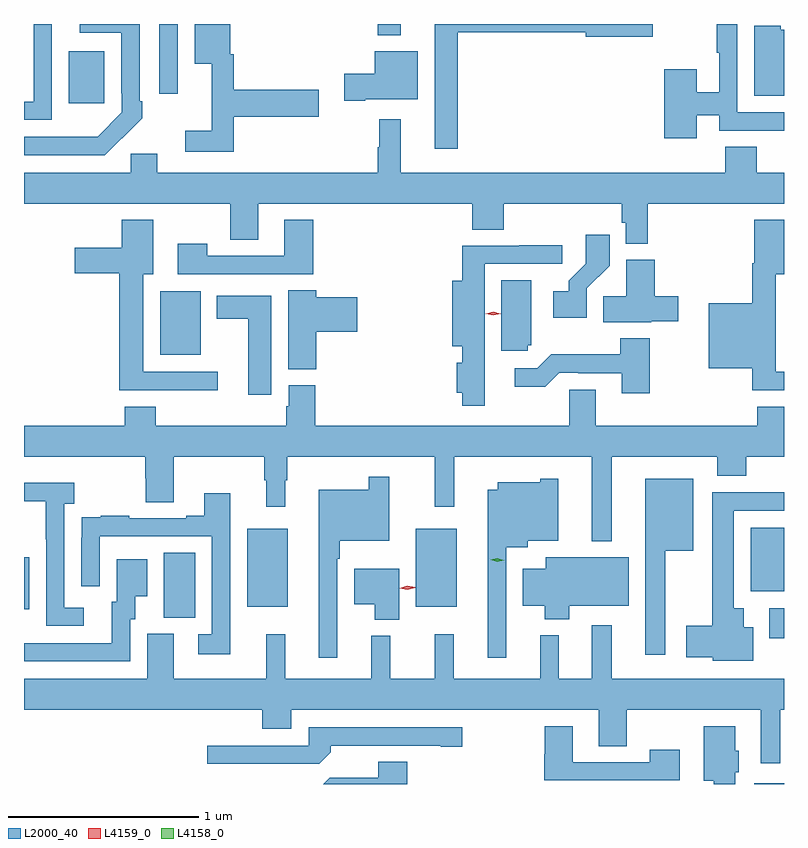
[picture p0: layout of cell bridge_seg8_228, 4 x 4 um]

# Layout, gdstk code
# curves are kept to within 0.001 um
import gdstk
lib = gdstk.Library(unit=1e-6, precision=1e-09)
def R(c, l, rs):  # rectangles x0, y0, x1, y1
    for r in rs: c.add(gdstk.rectangle(r[:2], r[2:], *l))
def P(c, l, *ps):  # polygons
    for p in ps: c.add(gdstk.Polygon(p, *l))
L2000_40 = (2000, 40)
L4158_0 = (4158, 0)
L4159_0 = (4159, 0)

bridge_seg8_228 = lib.new_cell('bridge_seg8_228')
R(bridge_seg8_228, L2000_40, [(125.18,1082.81,125.336,1082.815), (125.258,1083.576,125.336,1083.735), (122.072,1083.685,122.236,1084.028), (121.336,1083.729,121.363,1084.003), (122.51,1083.743,122.725,1084.153), (123.398,1083.743,123.613,1084.153), (125.162,1083.824,125.336,1084.159), (122.054,1085.069,122.266,1085.404), (121.571,1086.393,121.759,1086.667), (122.049,1086.444,122.145,1086.81), (123.198,1086.752,123.319,1086.81)])
P(bridge_seg8_228, L2000_40, [(121.853,1086.211),(121.854,1086.21),(121.959,1086.315),(121.959,1086.403),(121.944,1086.403),(121.944,1086.81),(121.629,1086.81),(121.629,1086.765),(121.848,1086.765),(121.848,1086.445),(121.851,1086.445),(121.851,1086.345),(121.723,1086.217),(121.336,1086.216),(121.336,1086.12),(121.762,1086.12)],
  [(121.482,1086.763),(121.483,1086.763),(121.483,1086.81),(121.386,1086.81),(121.386,1086.402),(121.336,1086.402),(121.336,1086.306),(121.482,1086.306)],
  [(122.441,1086.322),(122.887,1086.322),(122.887,1086.464),(122.441,1086.464),(122.441,1086.651),(122.422,1086.651),(122.422,1086.81),(122.234,1086.81),(122.234,1086.602),(122.324,1086.602),(122.324,1086.247),(122.184,1086.247),(122.184,1086.138),(122.441,1086.138)],
  [(124.876,1086.33),(124.995,1086.33),(124.995,1086.249),(125.275,1086.249),(125.275,1086.247),(125.336,1086.247),(125.336,1086.345),(125.091,1086.345),(125.091,1086.81),(124.983,1086.81),(124.983,1086.658),(124.995,1086.658),(124.995,1086.451),(124.876,1086.451),(124.876,1086.571),(124.706,1086.571),(124.706,1086.21),(124.876,1086.21)],
  [(123.619,1086.766),(124.292,1086.766),(124.292,1086.743),(124.645,1086.743),(124.645,1086.81),(123.497,1086.81),(123.497,1086.153),(123.619,1086.153)],
  [(125.336,1086.78),(125.319,1086.78),(125.319,1086.801),(125.18,1086.801),(125.18,1086.432),(125.336,1086.432)],
  [(123.133,1086.413),(123.409,1086.413),(123.409,1086.667),(123.182,1086.667),(123.182,1086.548),(123.021,1086.548),(123.021,1086.406),(123.133,1086.406)],
  [(124.619,1085.864),(125.336,1085.864),(125.336,1086.028),(125.192,1086.028),(125.192,1086.164),(125.027,1086.164),(125.027,1086.028),(123.319,1086.028),(123.319,1086.31),(123.205,1086.31),(123.205,1086.161),(123.198,1086.161),(123.198,1086.028),(122.038,1086.028),(122.038,1086.126),(121.899,1086.126),(121.899,1086.028),(121.336,1086.028),(121.336,1085.864),(122.422,1085.864),(122.422,1085.674),(122.569,1085.674),(122.569,1085.864),(123.695,1085.864),(123.695,1085.728),(123.86,1085.728),(123.86,1085.864),(124.483,1085.864),(124.483,1085.763),(124.503,1085.763),(124.503,1085.654),(124.619,1085.654)],
  [(125.336,1084.98),(125.293,1084.98),(125.293,1085.492),(125.336,1085.492),(125.336,1085.779),(125.18,1085.779),(125.18,1085.552),(125.168,1085.552),(125.168,1085.341),(124.94,1085.341),(124.94,1084.997),(125.168,1084.997),(125.168,1084.883),(125.336,1084.883)],
  [(122.858,1085.779),(122.705,1085.779),(122.705,1085.589),(122.301,1085.589),(122.301,1085.653),(122.145,1085.653),(122.145,1085.493),(122.858,1085.493)],
  [(122.356,1084.98),(121.963,1084.98),(121.963,1085.492),(122.017,1085.492),(122.017,1085.779),(121.85,1085.779),(121.85,1085.632),(121.602,1085.632),(121.602,1085.498),(121.838,1085.498),(121.838,1084.883),(122.356,1084.883)],
  [(124.299,1085.419),(124.418,1085.538),(124.418,1085.701),(124.293,1085.701),(124.293,1085.549),(124.202,1085.459),(124.202,1085.404),(124.122,1085.404),(124.122,1085.264),(124.299,1085.264)],
  [(123.76,1085.547),(124.168,1085.547),(124.168,1085.646),(123.943,1085.646),(123.943,1085.643),(123.643,1085.643),(123.643,1085.458),(123.59,1085.458),(123.59,1085.114),(123.643,1085.114),(123.643,1085.026),(123.614,1085.026),(123.614,1084.868),(123.643,1084.868),(123.643,1084.8),(123.76,1084.8)],
  [(124.638,1085.246),(124.78,1085.246),(124.78,1085.376),(124.655,1085.376),(124.655,1085.569),(124.505,1085.569),(124.505,1085.378),(124.384,1085.378),(124.384,1085.24),(124.638,1085.24)],
  [(123.987,1085.118),(124.006,1085.118),(124.006,1085.462),(123.848,1085.462),(123.848,1085.091),(123.987,1085.091)],
  [(122.873,1085.189),(123.091,1085.189),(123.091,1085.372),(122.873,1085.372),(122.873,1085.408),(122.726,1085.408),(122.726,1084.993),(122.873,1084.993)],
  [(122.638,1085.38),(122.351,1085.38),(122.351,1085.258),(122.516,1085.258),(122.516,1084.86),(122.638,1084.86)],
  [(124.629,1085.155),(124.474,1085.155),(124.474,1085.071),(124.111,1085.071),(124.038,1084.998),(123.918,1084.998),(123.918,1084.901),(124.079,1084.901),(124.152,1084.974),(124.252,1084.974),(124.252,1084.971),(124.481,1084.971),(124.481,1084.866),(124.629,1084.866)],
  [(121.865,1084.795),(121.865,1084.696),(121.336,1084.696),(121.336,1084.532),(121.973,1084.532),(121.973,1084.419),(121.978,1084.419),(121.978,1084.294),(122.125,1084.294),(122.125,1084.532),(122.601,1084.532),(122.601,1084.409),(122.612,1084.409),(122.612,1084.269),(122.71,1084.269),(122.71,1084.409),(122.722,1084.409),(122.722,1084.532),(123.499,1084.532),(123.499,1084.269),(123.6,1084.269),(123.6,1084.532),(124.325,1084.532),(124.325,1084.088),(124.429,1084.088),(124.429,1084.532),(124.985,1084.532),(124.985,1084.433),(125.138,1084.433),(125.138,1084.532),(125.336,1084.532),(125.336,1084.795),(125.195,1084.795),(125.195,1084.696),(124.345,1084.696),(124.345,1084.886),(124.206,1084.886),(124.206,1084.696),(122.87,1084.696),(122.87,1084.908),(122.729,1084.908),(122.729,1084.797),(122.717,1084.797),(122.717,1084.696),(122.03,1084.696),(122.03,1084.795)],
  [(122.985,1083.995),(122.998,1083.995),(122.998,1084.091),(123.258,1084.091),(123.258,1084.426),(123.15,1084.426),(123.15,1084.36),(122.888,1084.36),(122.888,1083.474),(122.985,1083.474)],
  [(124.711,1084.037),(124.858,1084.037),(124.858,1084.417),(124.607,1084.417),(124.607,1083.489),(124.711,1083.489)],
  [(123.873,1084.055),(123.988,1084.055),(123.988,1084.091),(124.147,1084.091),(124.147,1084.417),(124.053,1084.417),(124.053,1084.399),(123.83,1084.399),(123.83,1084.36),(123.776,1084.36),(123.776,1083.474),(123.873,1083.474)],
  [(121.651,1083.738),(121.548,1083.738),(121.548,1084.286),(121.6,1084.286),(121.6,1084.396),(121.336,1084.396),(121.336,1084.299),(121.451,1084.299),(121.451,1084.099),(121.452,1084.099),(121.452,1083.642),(121.651,1083.642)],
  [(125.173,1083.634),(125.125,1083.634),(125.125,1083.736),(125.071,1083.736),(125.071,1084.248),(125.336,1084.248),(125.336,1084.346),(124.958,1084.346),(124.958,1083.642),(124.821,1083.642),(124.821,1083.476),(124.962,1083.476),(124.962,1083.458),(125.173,1083.458)],
  [(122.421,1084.339),(122.285,1084.339),(122.285,1084.222),(122.189,1084.222),(122.189,1084.209),(121.889,1084.209),(121.889,1084.222),(121.741,1084.222),(121.741,1084.215),(121.639,1084.215),(121.639,1084.106),(121.638,1084.106),(121.638,1083.852),(121.734,1083.852),(121.734,1084.113),(122.325,1084.113),(122.325,1083.597),(122.253,1083.597),(122.253,1083.492),(122.421,1083.492)],
  [(124.206,1083.749),(124.519,1083.749),(124.519,1084.003),(124.082,1084.003),(124.082,1083.943),(123.962,1083.943),(123.962,1083.749),(124.076,1083.749),(124.076,1083.677),(124.206,1083.677)],
  [(121.896,1083.678),(121.921,1083.678),(121.921,1083.797),(121.984,1083.797),(121.984,1083.994),(121.823,1083.994),(121.823,1083.768),(121.799,1083.768),(121.799,1083.552),(121.336,1083.552),(121.336,1083.456),(121.896,1083.456)],
  [(123.31,1083.943),(123.074,1083.943),(123.074,1083.755),(123.182,1083.755),(123.182,1083.674),(123.31,1083.674)],
  [(125.317,1083.2),(125.336,1083.2),(125.336,1083.364),(124.429,1083.364),(124.429,1083.646),(124.325,1083.646),(124.325,1083.364),(124.15,1083.364),(124.15,1083.592),(124.052,1083.592),(124.052,1083.364),(123.599,1083.364),(123.599,1083.598),(123.499,1083.598),(123.499,1083.364),(123.264,1083.364),(123.264,1083.589),(123.164,1083.589),(123.164,1083.364),(122.711,1083.364),(122.711,1083.598),(122.612,1083.598),(122.612,1083.364),(122.125,1083.364),(122.125,1083.6),(121.985,1083.6),(121.985,1083.364),(121.336,1083.364),(121.336,1083.2),(122.591,1083.2),(122.591,1083.101),(122.743,1083.101),(122.743,1083.2),(124.361,1083.2),(124.361,1083.01),(124.509,1083.01),(124.509,1083.2),(125.213,1083.2),(125.213,1082.919),(125.317,1082.919)],
  [(125.08,1082.871),(125.098,1082.871),(125.098,1082.985),(125.08,1082.985),(125.08,1083.115),(124.913,1083.115),(124.913,1082.828),(124.967,1082.828),(124.967,1082.81),(125.08,1082.81)],
  [(124.786,1082.989),(124.63,1082.989),(124.63,1082.925),(124.225,1082.925),(124.225,1083.115),(124.078,1083.115),(124.078,1082.967),(124.073,1082.967),(124.073,1082.829),(124.786,1082.829)],
  [(122.951,1082.978),(122.951,1083.012),(123.53,1083.012),(123.53,1083.007),(123.643,1083.007),(123.643,1083.108),(122.835,1083.108),(122.835,1083.012),(122.301,1083.012),(122.301,1082.916),(122.889,1082.916)],
  [(123.353,1082.927),(123.2,1082.927),(123.2,1082.844),(122.946,1082.844),(122.912,1082.81),(123.353,1082.81)])
P(bridge_seg8_228, L4158_0, [(123.826,1083.979),(123.792,1083.99),(123.791,1083.991),(123.792,1083.991),(123.828,1083.999),(123.862,1083.987),(123.863,1083.987),(123.862,1083.987)])
P(bridge_seg8_228, L4159_0, [(123.805,1085.276),(123.765,1085.285),(123.765,1085.286),(123.765,1085.286),(123.805,1085.296),(123.844,1085.286),(123.845,1085.286),(123.844,1085.285)],
  [(123.354,1083.833),(123.313,1083.841),(123.313,1083.841),(123.313,1083.841),(123.353,1083.853),(123.394,1083.845),(123.395,1083.844),(123.394,1083.844)])

lib.write_gds('bridge_seg8_228.gds')
